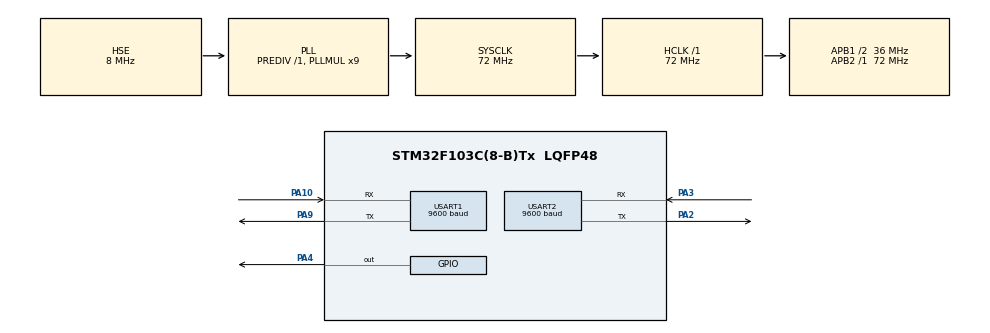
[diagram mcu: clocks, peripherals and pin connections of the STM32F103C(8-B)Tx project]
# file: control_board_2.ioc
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Dma.Request0=USART2_RX
Dma.Request1=USART1_RX
Dma.USART1_RX.1.Direction=DMA_PERIPH_TO_MEMORY
Dma.USART1_RX.1.Instance=DMA1_Channel5
Dma.USART1_RX.1.MemDataAlignment=DMA_MDATAALIGN_BYTE
Dma.USART1_RX.1.MemInc=DMA_MINC_ENABLE
Dma.USART1_RX.1.Mode=DMA_NORMAL
Dma.USART1_RX.1.PeriphDataAlignment=DMA_PDATAALIGN_BYTE
Dma.USART1_RX.1.PeriphInc=DMA_PINC_DISABLE
Dma.USART1_RX.1.Priority=DMA_PRIORITY_LOW
Dma.USART2_RX.0.Direction=DMA_PERIPH_TO_MEMORY
Dma.USART2_RX.0.Instance=DMA1_Channel6
Dma.USART2_RX.0.MemDataAlignment=DMA_MDATAALIGN_BYTE
Dma.USART2_RX.0.MemInc=DMA_MINC_ENABLE
Dma.USART2_RX.0.Mode=DMA_NORMAL
Dma.USART2_RX.0.PeriphDataAlignment=DMA_PDATAALIGN_BYTE
Dma.USART2_RX.0.PeriphInc=DMA_PINC_DISABLE
Dma.USART2_RX.0.Priority=DMA_PRIORITY_LOW
FREERTOS.BinarySemaphores01=WriteCmdBinarySem01,Dynamic,NULL,Available;ReadCmdBinarySem02,Dynamic,NULL,Available;uartBinarySem03,Dynamic,NULL,Available
FREERTOS.Tasks01=defaultTask,24,128,StartDefaultTask,Default,NULL,Dynamic,NULL,NULL;WriteConfirmTas,8,128,WriteConfirmStartTask02,Default,NULL,Dynamic,NULL,NULL;ReadConfirmTask,8,128,ReadConfirmStartTask03,Default,NULL,Dynamic,NULL,NULL;dataProcessTask,8,128,dataProcessStartTask04,Default,NULL,Dynamic,NULL,NULL
Mcu.Family=STM32F1
Mcu.Name=STM32F103C(8-B)Tx
Mcu.Package=LQFP48
NVIC.DMA1_Channel5_IRQn=true\:5\:0\:false\:false\:true\:true\:false\:true\:true
NVIC.DMA1_Channel6_IRQn=true\:5\:0\:false\:false\:true\:true\:false\:true\:true
NVIC.PriorityGroup=NVIC_PRIORITYGROUP_4
NVIC.TIM1_UP_IRQn=true\:15\:0\:false\:false\:true\:false\:false\:true\:true
NVIC.TimeBase=TIM1_UP_IRQn
NVIC.TimeBaseIP=TIM1
NVIC.USART1_IRQn=true\:5\:0\:false\:false\:true\:true\:true\:true\:true
NVIC.USART2_IRQn=true\:5\:0\:false\:false\:true\:true\:true\:true\:true
PA10.Mode=Asynchronous
PA10.Signal=USART1_RX
PA13.Mode=Serial_Wire
PA13.Signal=SYS_JTMS-SWDIO
PA14.Mode=Serial_Wire
PA14.Signal=SYS_JTCK-SWCLK
PA2.Mode=Asynchronous
PA2.Signal=USART2_TX
PA3.Mode=Asynchronous
PA3.Signal=USART2_RX
PA4.GPIO_Speed=GPIO_SPEED_FREQ_HIGH
PA4.PinState=GPIO_PIN_SET
PA4.Signal=GPIO_Output
PA9.Mode=Asynchronous
PA9.Signal=USART1_TX
PD0-OSC_IN.Mode=HSE-External-Oscillator
PD0-OSC_IN.Signal=RCC_OSC_IN
PD1-OSC_OUT.Mode=HSE-External-Oscillator
PD1-OSC_OUT.Signal=RCC_OSC_OUT
ProjectManager.HeapSize=0x200
ProjectManager.StackSize=0x400
ProjectManager.TargetToolchain=MDK-ARM V5.32
RCC.AHBFreq_Value=72000000
RCC.APB1CLKDivider=RCC_HCLK_DIV2
RCC.APB1Freq_Value=36000000
RCC.APB1TimFreq_Value=72000000
RCC.APB2Freq_Value=72000000
RCC.APB2TimFreq_Value=72000000
RCC.HCLKFreq_Value=72000000
RCC.PLLMUL=RCC_PLL_MUL9
RCC.PLLSourceVirtual=RCC_PLLSOURCE_HSE
RCC.SYSCLKFreq_VALUE=72000000
RCC.SYSCLKSource=RCC_SYSCLKSOURCE_PLLCLK
RCC.USBFreq_Value=72000000
USART1.BaudRate=9600
USART1.VirtualMode=VM_ASYNC
USART2.BaudRate=9600
USART2.VirtualMode=VM_ASYNC
VP_FREERTOS_VS_CMSIS_V2.Mode=CMSIS_V2
VP_SYS_VS_tim1.Mode=TIM1
board=custom

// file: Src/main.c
/* USER CODE BEGIN Header */
/**
  ******************************************************************************
  * @file           : main.c
  * @brief          : Main program body
  ******************************************************************************
  * @attention
  *
  * Copyright (c) 2025 STMicroelectronics.
  * All rights reserved.
  *
  * This software is licensed under terms that can be found in the LICENSE file
  * in the root directory of this software component.
  * If no LICENSE file comes with this software, it is provided AS-IS.
  *
  ******************************************************************************
  */
/* USER CODE END Header */
#include "main.h"
#include "cmsis_os.h"
#include "dma.h"
#include "usart.h"
#include "gpio.h"

/* USER CODE BEGIN Includes */
#define RX_BUFFER_SIZE  64
/* USER CODE END Includes */

/* USER CODE BEGIN PTD */
#include "485_to_motor.h"
uint8_t rx_buffer1[RX_BUFFER_SIZE];
uint8_t rx_buffer2[RX_BUFFER_SIZE];

/* USER CODE END PTD */

void SystemClock_Config(void);
void MX_FREERTOS_Init(void);

int main(void)
{

  /* MCU Configuration--------------------------------------------------------*/

  /* Reset of all peripherals, Initializes the Flash interface and the Systick. */
  HAL_Init();

  /* Configure the system clock */
  SystemClock_Config();

  /* Initialize all configured peripherals */
  MX_DMA_Init();
  MX_GPIO_Init();
  MX_USART1_UART_Init();
  MX_USART2_UART_Init();
  /* USER CODE BEGIN 2 */
	__HAL_UART_ENABLE_IT(&huart1, UART_IT_IDLE);
	__HAL_UART_ENABLE_IT(&huart2, UART_IT_IDLE);
	HAL_UART_Receive_DMA(&huart1, rx_buffer1, RX_BUFFER_SIZE);
	HAL_UART_Receive_DMA(&huart2, rx_buffer2, RX_BUFFER_SIZE);
//����DMA �����жϽ���
  /* USER CODE END 2 */

  /* Init scheduler */
  osKernelInitialize();  /* Call init function for freertos objects (in cmsis_os2.c) */
  MX_FREERTOS_Init();

  /* Start scheduler */
  osKernelStart();

  /* We should never get here as control is now taken by the scheduler */

  /* Infinite loop */
  while (1)
  {

  }
}

void SystemClock_Config(void)
{
  RCC_OscInitTypeDef RCC_OscInitStruct = {0};
  RCC_ClkInitTypeDef RCC_ClkInitStruct = {0};

  /** Initializes the RCC Oscillators according to the specified parameters
  * in the RCC_OscInitTypeDef structure.
  */
  RCC_OscInitStruct.OscillatorType = RCC_OSCILLATORTYPE_HSE;
  RCC_OscInitStruct.HSEState = RCC_HSE_ON;
  RCC_OscInitStruct.HSEPredivValue = RCC_HSE_PREDIV_DIV1;
  RCC_OscInitStruct.HSIState = RCC_HSI_ON;
  RCC_OscInitStruct.PLL.PLLState = RCC_PLL_ON;
  RCC_OscInitStruct.PLL.PLLSource = RCC_PLLSOURCE_HSE;
  RCC_OscInitStruct.PLL.PLLMUL = RCC_PLL_MUL9;
  if (HAL_RCC_OscConfig(&RCC_OscInitStruct) != HAL_OK)
  {
    Error_Handler();
  }

  /** Initializes the CPU, AHB and APB buses clocks
  */
  RCC_ClkInitStruct.ClockType = RCC_CLOCKTYPE_HCLK|RCC_CLOCKTYPE_SYSCLK
                              |RCC_CLOCKTYPE_PCLK1|RCC_CLOCKTYPE_PCLK2;
  RCC_ClkInitStruct.SYSCLKSource = RCC_SYSCLKSOURCE_PLLCLK;
  RCC_ClkInitStruct.AHBCLKDivider = RCC_SYSCLK_DIV1;
  RCC_ClkInitStruct.APB1CLKDivider = RCC_HCLK_DIV2;
  RCC_ClkInitStruct.APB2CLKDivider = RCC_HCLK_DIV1;

  if (HAL_RCC_ClockConfig(&RCC_ClkInitStruct, FLASH_LATENCY_2) != HAL_OK)
  {
    Error_Handler();
  }
}

void HAL_TIM_PeriodElapsedCallback(TIM_HandleTypeDef *htim)
{
  if (htim->Instance == TIM1)
  {
    HAL_IncTick();
  }
}

void Error_Handler(void)
{
  __disable_irq();
  while (1)
  {
  }
}

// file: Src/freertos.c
/* USER CODE BEGIN Header */
/**
  ******************************************************************************
  * File Name          : freertos.c
  * Description        : Code for freertos applications
  ******************************************************************************
  * @attention
  *
  * Copyright (c) 2025 STMicroelectronics.
  * All rights reserved.
  *
  * This software is licensed under terms that can be found in the LICENSE file
  * in the root directory of this software component.
  * If no LICENSE file comes with this software, it is provided AS-IS.
  *
  ******************************************************************************
  */
/* USER CODE END Header */

#include "FreeRTOS.h"
#include "task.h"
#include "main.h"
#include "cmsis_os.h"

/* USER CODE BEGIN Includes */
#include "bsp_uart.h"
#include <string.h>
#include "485_to_motor.h"
/* USER CODE END Includes */

/* USER CODE BEGIN PD */
#define RX_BUFFER_SIZE 64
/* USER CODE END PD */

/* USER CODE BEGIN Variables */

volatile uint8_t flag_motor_start=0;
 float interval=1;//计算间隔
uint16_t Target_Turns;
volatile uint8_t sensor_flag=0;//4个传感器触发标志位,外部中断触发，未触发时为0
uint32_t data[4]={0};//存储4个实验的圈数
uint8_t uart_flag=0;
read_data_t current_motor_stat={0};
uint32_t count=0;//just test
float Transmission_ratio=1.5f;//
extern mt_bk_t motor_data_management;
extern mt_state_t lcd_send_to_motor;
extern uint8_t rx_buffer1[];
extern uint8_t rx_buffer2[];
extern uint16_t gloable_speed;
extern uint16_t target_circle;

/* USER CODE END Variables */
/* Definitions for defaultTask */
osThreadId_t defaultTaskHandle;
const osThreadAttr_t defaultTask_attributes = {
  .name = "defaultTask",
  .stack_size = 128 * 4,
  .priority = (osPriority_t) osPriorityNormal,
};
/* Definitions for WriteConfirmTas */
osThreadId_t WriteConfirmTasHandle;
const osThreadAttr_t WriteConfirmTas_attributes = {
  .name = "WriteConfirmTas",
  .stack_size = 128 * 4,
  .priority = (osPriority_t) osPriorityLow,
};
/* Definitions for ReadConfirmTask */
osThreadId_t ReadConfirmTaskHandle;
const osThreadAttr_t ReadConfirmTask_attributes = {
  .name = "ReadConfirmTask",
  .stack_size = 128 * 4,
  .priority = (osPriority_t) osPriorityLow,
};
/* Definitions for dataProcessTask */
osThreadId_t dataProcessTaskHandle;
const osThreadAttr_t dataProcessTask_attributes = {
  .name = "dataProcessTask",
  .stack_size = 128 * 4,
  .priority = (osPriority_t) osPriorityLow,
};
/* Definitions for WriteCmdBinarySem01 */
osSemaphoreId_t WriteCmdBinarySem01Handle;
const osSemaphoreAttr_t WriteCmdBinarySem01_attributes = {
  .name = "WriteCmdBinarySem01"
};
/* Definitions for ReadCmdBinarySem02 */
osSemaphoreId_t ReadCmdBinarySem02Handle;
const osSemaphoreAttr_t ReadCmdBinarySem02_attributes = {
  .name = "ReadCmdBinarySem02"
};
/* Definitions for uartBinarySem03 */
osSemaphoreId_t uartBinarySem03Handle;
const osSemaphoreAttr_t uartBinarySem03_attributes = {
  .name = "uartBinarySem03"
};

void StartDefaultTask(void *argument);
void WriteConfirmStartTask02(void *argument);
void ReadConfirmStartTask03(void *argument);
void dataProcessStartTask04(void *argument);

void MX_FREERTOS_Init(void); /* (MISRA C 2004 rule 8.1) */

void MX_FREERTOS_Init(void) {

  /* Create the semaphores(s) */
  /* creation of WriteCmdBinarySem01 */
  WriteCmdBinarySem01Handle = osSemaphoreNew(1, 1, &WriteCmdBinarySem01_attributes);

  /* creation of ReadCmdBinarySem02 */
  ReadCmdBinarySem02Handle = osSemaphoreNew(1, 1, &ReadCmdBinarySem02_attributes);

  /* creation of uartBinarySem03 */
  uartBinarySem03Handle = osSemaphoreNew(1, 1, &uartBinarySem03_attributes);

  /* Create the thread(s) */
  /* creation of defaultTask */
  defaultTaskHandle = osThreadNew(StartDefaultTask, NULL, &defaultTask_attributes);

  /* creation of WriteConfirmTas */
  WriteConfirmTasHandle = osThreadNew(WriteConfirmStartTask02, NULL, &WriteConfirmTas_attributes);

  /* creation of ReadConfirmTask */
  ReadConfirmTaskHandle = osThreadNew(ReadConfirmStartTask03, NULL, &ReadConfirmTask_attributes);

  /* creation of dataProcessTask */
  dataProcessTaskHandle = osThreadNew(dataProcessStartTask04, NULL, &dataProcessTask_attributes);

}

void StartDefaultTask(void *argument)
{
  /* USER CODE BEGIN StartDefaultTask */
  /* Infinite loop */
  for(;;)
  {
		if(flag_motor_start==1)
		{
				//motor_get_speed();

		//count=lcd_send_to_motor.current_circle;
		count=count+(int)(gloable_speed*interval/60/Transmission_ratio);//通过积分的方式	计算得到当前的圈数

		char addr[4][30]={{"page2.n0.val"},{"page2.n1.val"},{"page2.n2.val"},{"page2.n3.val"}};//组件的地址

		for(uint8_t i=0;i<4;i++)
		{
			update_lcd_ui(addr[i],count);//更新数据到led屏幕
		}
		}else
		{
			count=0;

		}
		if(count>=target_circle)
		{

			flag_motor_start=0;
			 motor_stop();

		}
		osDelay(interval*1000);
  }
  /* USER CODE END StartDefaultTask */
}

void WriteConfirmStartTask02(void *argument)
{
  for(;;)
  {
    osDelay(1);
  }
}

void ReadConfirmStartTask03(void *argument)
{
  /* USER CODE BEGIN ReadConfirmStartTask03 */
  /* Infinite loop */
  for(;;)
  {

	osStatus_t ret=osSemaphoreAcquire(ReadCmdBinarySem02Handle,osWaitForever);
	if(ret==osOK)
	{

		if(motor_data_management.function_code==0x03)//??????
		{
		//	uint16_t read_data_addr=motor_data_management.address;
	 //???????
			uint16_t temp_speed=0;
			temp_speed|= motor_data_management.motor_total_buf[4]<<8;
				temp_speed|= motor_data_management.data[3];
			 if(current_motor_stat.motor_dir==0x01)//???
			{

				current_motor_stat.speed=temp_speed;

			}else if(current_motor_stat.motor_dir==0x00)//???
			{
				temp_speed = ~(temp_speed-1);

        current_motor_stat.speed= temp_speed;

			}else{}

		ProcessData(&huart2,motor_data_management.motor_total_buf,motor_data_management.total_data_len);
    memset(&motor_data_management,0,UART_RX_BUF_SIZE);

    //HAL_UART_Receive_DMA(&huart2,rx_buffer2,RX_BUFFER_SIZE);//??DMA??

		}

//		current_motor_stat.current_circles+=(uint16_t)(current_motor_stat.speed*interval);//通过积分的方式	计算得到当前的圈数
//		char addr[4][30]={{"page2.n0.val"},{"page2.n1.val"},{"page2.n2.val"},{"page2.n3.val"}};//组件的地址
//		for(uint8_t i=0;i<4;i++)
//		{
//			update_lcd_ui(addr[i],count++);//更新数据到led屏幕
//		}

		//11111
//				current_motor_stat.current_circles+=(uint16_t)(current_motor_stat.speed*interval);
//
//				//更新数据到屏幕上
//
//				char addr[4][30]={{"page2.n0.val"},{"page2.n1.val"},{"page2.n2.val"},{"page2.n3.val"}};
//
//
//
//		for(uint8_t i=0;i<4;i++)
//		{
//			update_lcd_ui(addr[i],current_motor_stat.current_circles);//更新数据到led屏幕
//
//
//		}
//

//					if(current_motor_stat.current_circles>=Target_Turns||sensor_flag!=0)//如果大于目标圈数或者传感器触发
//	{
//		if(current_motor_stat.current_circles>=Target_Turns)//达到目标圈数，应该停止电机
//		{
//			motor_stop();
//		}else{//传感器触发
//			data[sensor_flag-1]=current_motor_stat.current_circles;
//		}
//
//
//	}

	}

    osDelay(1);
  }
  /* USER CODE END ReadConfirmStartTask03 */
}

void dataProcessStartTask04(void *argument)
{
  /* USER CODE BEGIN dataProcessStartTask04 */
  /* Infinite loop */
  for(;;)
  {
	osStatus_t ret=osSemaphoreAcquire(uartBinarySem03Handle,osWaitForever);
	if(ret==osOK)
	{

		ProcessData(&huart1,motor_data_management.motor_total_buf,motor_data_management.total_data_len);
    memset(&motor_data_management,0,sizeof(motor_data_management));
		memset(&rx_buffer1,0,UART_RX_BUF_SIZE);

    HAL_UART_Receive_DMA(&huart1,rx_buffer1,RX_BUFFER_SIZE);//启用DMA接收

	}

    osDelay(1);
  }
  /* USER CODE END dataProcessStartTask04 */
}
